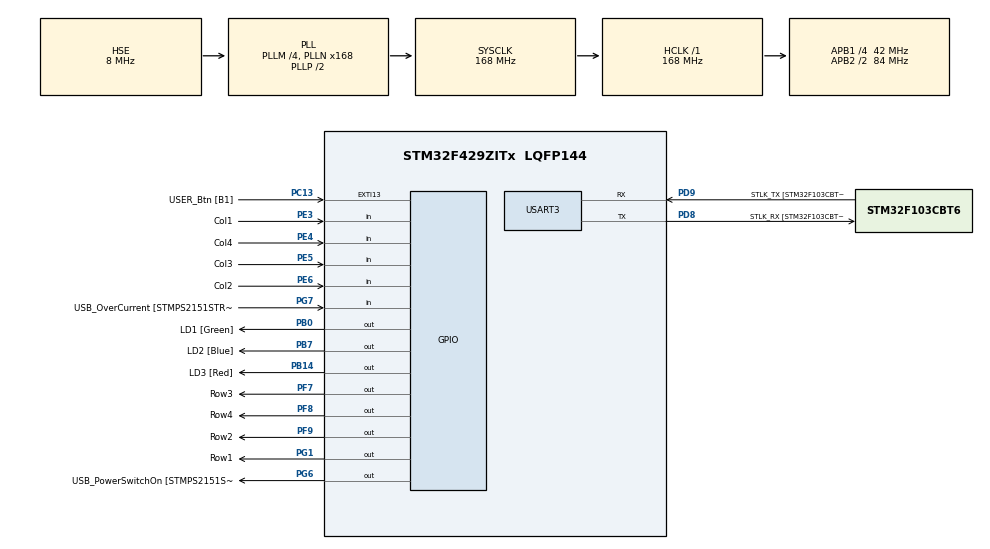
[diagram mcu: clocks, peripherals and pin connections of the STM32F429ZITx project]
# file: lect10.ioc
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Mcu.Family=STM32F4
Mcu.Name=STM32F429ZITx
Mcu.Package=LQFP144
NVIC.PriorityGroup=NVIC_PRIORITYGROUP_4
NVIC.TIM3_IRQn=true\:0\:0\:false\:false\:true\:true\:true\:true
PA1.GPIO_Label=RMII_REF_CLK [LAN8742A-CZ-TR_REFCLK0]
PA1.Signal=ETH_REF_CLK
PA10.GPIO_Label=USB_ID
PA10.Signal=USB_OTG_FS_ID
PA11.GPIO_Label=USB_DM
PA11.Signal=USB_OTG_FS_DM
PA12.GPIO_Label=USB_DP
PA12.Signal=USB_OTG_FS_DP
PA13.GPIO_Label=TMS
PA13.Mode=Serial_Wire
PA13.Signal=SYS_JTMS-SWDIO
PA14.GPIO_Label=TCK
PA14.Mode=Serial_Wire
PA14.Signal=SYS_JTCK-SWCLK
PA2.GPIO_Label=RMII_MDIO [LAN8742A-CZ-TR_MDIO]
PA2.Signal=ETH_MDIO
PA7.GPIO_Label=RMII_CRS_DV [LAN8742A-CZ-TR_CRS_DV]
PA7.Signal=ETH_CRS_DV
PA8.GPIO_Label=USB_SOF [TP1]
PA8.Signal=USB_OTG_FS_SOF
PA9.GPIO_Label=USB_VBUS
PA9.Signal=USB_OTG_FS_VBUS
PB0.GPIO_Label=LD1 [Green]
PB0.Signal=GPIO_Output
PB13.GPIO_Label=RMII_TXD1 [LAN8742A-CZ-TR_TXD1]
PB13.Signal=ETH_TXD1
PB14.GPIO_Label=LD3 [Red]
PB14.Signal=GPIO_Output
PB7.GPIO_Label=LD2 [Blue]
PB7.Signal=GPIO_Output
PC1.GPIO_Label=RMII_MDC [LAN8742A-CZ-TR_MDC]
PC1.Signal=ETH_MDC
PC13.GPIO_Label=USER_Btn [B1]
PC13.Signal=GPXTI13
PC14/OSC32_IN.Mode=LSE-External-Oscillator
PC14/OSC32_IN.Signal=RCC_OSC32_IN
PC15/OSC32_OUT.Mode=LSE-External-Oscillator
PC15/OSC32_OUT.Signal=RCC_OSC32_OUT
PC4.GPIO_Label=RMII_RXD0 [LAN8742A-CZ-TR_RXD0]
PC4.Signal=ETH_RXD0
PC5.GPIO_Label=RMII_RXD1 [LAN8742A-CZ-TR_RXD1]
PC5.Signal=ETH_RXD1
PD8.GPIO_Label=STLK_RX [STM32F103CBT6_PA3]
PD8.Mode=Asynchronous
PD8.Signal=USART3_TX
PD9.GPIO_Label=STLK_TX [STM32F103CBT6_PA2]
PD9.Mode=Asynchronous
PD9.Signal=USART3_RX
PE3.GPIO_Label=Col1
PE3.GPIO_PuPd=GPIO_PULLUP
PE3.Signal=GPIO_Input
PE4.GPIO_Label=Col4
PE4.GPIO_PuPd=GPIO_PULLUP
PE4.Signal=GPIO_Input
PE5.GPIO_Label=Col3
PE5.GPIO_PuPd=GPIO_PULLUP
PE5.Signal=GPIO_Input
PE6.GPIO_Label=Col2
PE6.GPIO_PuPd=GPIO_PULLUP
PE6.Signal=GPIO_Input
PF7.GPIO_Label=Row3
PF7.GPIO_ModeDefaultOutputPP=GPIO_MODE_OUTPUT_OD
PF7.GPIO_PuPd=GPIO_NOPULL
PF7.Signal=GPIO_Output
PF8.GPIO_Label=Row4
PF8.GPIO_ModeDefaultOutputPP=GPIO_MODE_OUTPUT_OD
PF8.GPIO_PuPd=GPIO_NOPULL
PF8.Signal=GPIO_Output
PF9.GPIO_Label=Row2
PF9.GPIO_ModeDefaultOutputPP=GPIO_MODE_OUTPUT_OD
PF9.GPIO_PuPd=GPIO_NOPULL
PF9.Signal=GPIO_Output
PG1.GPIO_Label=Row1
PG1.GPIO_ModeDefaultOutputPP=GPIO_MODE_OUTPUT_OD
PG1.GPIO_PuPd=GPIO_NOPULL
PG1.Signal=GPIO_Output
PG11.GPIO_Label=RMII_TX_EN [LAN8742A-CZ-TR_TXEN]
PG11.Signal=ETH_TX_EN
PG13.GPIO_Label=RMII_TXD0 [LAN8742A-CZ-TR_TXD0]
PG13.Signal=ETH_TXD0
PG6.GPIO_Label=USB_PowerSwitchOn [STMPS2151STR_EN]
PG6.Signal=GPIO_Output
PG7.GPIO_Label=USB_OverCurrent [STMPS2151STR_FAULT]
PG7.Signal=GPIO_Input
PH0/OSC_IN.GPIO_Label=MCO [STM32F103CBT6_PA8]
PH0/OSC_IN.Mode=HSE-External-Clock-Source
PH0/OSC_IN.Signal=RCC_OSC_IN
PH1/OSC_OUT.Mode=HSE-External-Clock-Source
PH1/OSC_OUT.Signal=RCC_OSC_OUT
ProjectManager.HeapSize=0x200
ProjectManager.StackSize=0x400
ProjectManager.TargetToolchain=STM32CubeIDE
RCC.48MHZClocksFreq_Value=48000000
RCC.AHBFreq_Value=168000000
RCC.APB1CLKDivider=RCC_HCLK_DIV4
RCC.APB1Freq_Value=42000000
RCC.APB1TimFreq_Value=84000000
RCC.APB2CLKDivider=RCC_HCLK_DIV2
RCC.APB2Freq_Value=84000000
RCC.APB2TimCLKDivider=2
RCC.APB2TimFreq_Value=168000000
RCC.CortexFreq_Value=168000000
RCC.HCLKFreq_Value=168000000
RCC.HSE_VALUE=8000000
RCC.HSI_VALUE=16000000
RCC.PLLM=4
RCC.PLLMUL=RCC_PLL_MUL9
RCC.PLLN=168
RCC.PLLQ=7
RCC.PLLSourceVirtual=RCC_PLLSOURCE_HSE
RCC.PRESCALERUSB=RCC_USBCLKSOURCE_PLL_DIV1_5
RCC.SYSCLKFreq_VALUE=168000000
RCC.SYSCLKSource=RCC_SYSCLKSOURCE_PLLCLK
RCC.SYSCLKSourceVirtual=RCC_SYSCLKSOURCE_PLLCLK
RCC.USBFreq_Value=48000000
RCC.VCOOutputFreq_Value=336000000
TIM3.AutoReloadPreload=TIM_AUTORELOAD_PRELOAD_ENABLE
TIM3.Period=99
TIM3.Prescaler=8399
USART3.VirtualMode=VM_ASYNC
VP_TIM3_VS_ClockSourceINT.Mode=Internal
board=NUCLEO-F429ZI

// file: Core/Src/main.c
/* USER CODE BEGIN Header */
/**
 ******************************************************************************
 * @file           : main.c
 * @brief          : Main program body
 ******************************************************************************
 * @attention
 *
 * Copyright (c) 2024 STMicroelectronics.
 * All rights reserved.
 *
 * This software is licensed under terms that can be found in the LICENSE file
 * in the root directory of this software component.
 * If no LICENSE file comes with this software, it is provided AS-IS.
 *
 ******************************************************************************
 */
/* USER CODE END Header */
#include "main.h"

/* USER CODE BEGIN Includes */
#include <stdio.h>
/* USER CODE END Includes */

/* USER CODE BEGIN PD */
#define DELAY 3000
/* USER CODE END PD */

TIM_HandleTypeDef htim3;

UART_HandleTypeDef huart3;

/* USER CODE BEGIN PV */
static volatile char key = 0;
static uint32_t TicTak = 0;
static const char password[] = {'1','2','3','4','#'};
uint8_t pw_i = 0;
uint8_t stisknuto = 0;

int __io_putchar (int ch){
	ITM_SendChar(ch);
	return 0;
}

void HAL_TIM_PeriodElapsedCallback(TIM_HandleTypeDef *htim){
	static uint8_t row = 0;
	static const char keyboard[4][4] = {
			{ '1', '2', '3', 'A' },
			{ '4', '5', '6', 'B' },
			{ '7', '8', '9', 'C' },
			{ '*', '0', '#', 'D' },
	};
	if (key == 0) {
		if (HAL_GPIO_ReadPin(Col1_GPIO_Port, Col1_Pin) == GPIO_PIN_RESET) key = keyboard[row][0];
		if (HAL_GPIO_ReadPin(Col2_GPIO_Port, Col2_Pin) == GPIO_PIN_RESET) key = keyboard[row][1];
		if (HAL_GPIO_ReadPin(Col3_GPIO_Port, Col3_Pin) == GPIO_PIN_RESET) key = keyboard[row][2];
		if (HAL_GPIO_ReadPin(Col4_GPIO_Port, Col4_Pin) == GPIO_PIN_RESET) key = keyboard[row][3];

	}
	HAL_GPIO_WritePin(Row1_GPIO_Port, Row1_Pin, GPIO_PIN_SET);
	HAL_GPIO_WritePin(Row2_GPIO_Port, Row2_Pin, GPIO_PIN_SET);
	HAL_GPIO_WritePin(Row3_GPIO_Port, Row3_Pin, GPIO_PIN_SET);
	HAL_GPIO_WritePin(Row4_GPIO_Port, Row4_Pin, GPIO_PIN_SET);
	switch (row) {
	case 0: row = 1; HAL_GPIO_WritePin(Row2_GPIO_Port, Row2_Pin, GPIO_PIN_RESET); break;
	case 1: row = 2; HAL_GPIO_WritePin(Row3_GPIO_Port, Row3_Pin, GPIO_PIN_RESET); break;
	case 2: row = 3; HAL_GPIO_WritePin(Row4_GPIO_Port, Row4_Pin, GPIO_PIN_RESET); break;
	case 3: row = 0; HAL_GPIO_WritePin(Row1_GPIO_Port, Row1_Pin, GPIO_PIN_RESET); break;

	}
}
/* USER CODE END PV */

void SystemClock_Config(void);
static void MX_GPIO_Init(void);
static void MX_USART3_UART_Init(void);
static void MX_TIM3_Init(void);

int main(void)
{

	/* MCU Configuration--------------------------------------------------------*/

	/* Reset of all peripherals, Initializes the Flash interface and the Systick. */
	HAL_Init();

	/* Configure the system clock */
	SystemClock_Config();

	/* Initialize all configured peripherals */
	MX_GPIO_Init();
	MX_USART3_UART_Init();
	MX_TIM3_Init();
	/* USER CODE BEGIN 2 */
	HAL_TIM_Base_Start_IT(&htim3);
	/* USER CODE END 2 */

	/* Infinite loop */
	/* USER CODE BEGIN WHILE */
	while (1)
	{
		//printf("Tick\n");
		//HAL_GPIO_TogglePin(LD2_GPIO_Port, LD2_Pin);
		//HAL_GPIO_TogglePin(LD3_GPIO_Port, LD3_Pin);

		if (key != 0) {
			stisknuto = 1;
			TicTak = HAL_GetTick();
			printf("stisknuto '%c'\n", key);
			HAL_Delay(500);

			if(key == password[pw_i]){
				pw_i++;
				printf("Ok --> '%d' z 5\n", pw_i);
				//printf("OK\n");

				if(pw_i== 5){
					printf("Unlocked\n");
					HAL_GPIO_WritePin(LD2_GPIO_Port, LD2_Pin,1);
					HAL_Delay(5000);
					HAL_GPIO_WritePin(LD2_GPIO_Port, LD2_Pin,0);
				}

			}else{
				printf("Error - Try again\n");
				pw_i = 0;
			}
			key = 0;
		}
		if((HAL_GetTick() > TicTak + DELAY)&&stisknuto == 1){
			printf("Timeout - Try again\n");
			pw_i = 0;
			key = 0;
			stisknuto = 0;
		}

		/* USER CODE END WHILE */

	}
}

void SystemClock_Config(void)
{
	RCC_OscInitTypeDef RCC_OscInitStruct = {0};
	RCC_ClkInitTypeDef RCC_ClkInitStruct = {0};

	/** Configure the main internal regulator output voltage
	 */
	__HAL_RCC_PWR_CLK_ENABLE();
	__HAL_PWR_VOLTAGESCALING_CONFIG(PWR_REGULATOR_VOLTAGE_SCALE1);

	/** Initializes the RCC Oscillators according to the specified parameters
	 * in the RCC_OscInitTypeDef structure.
	 */
	RCC_OscInitStruct.OscillatorType = RCC_OSCILLATORTYPE_HSE;
	RCC_OscInitStruct.HSEState = RCC_HSE_BYPASS;
	RCC_OscInitStruct.PLL.PLLState = RCC_PLL_ON;
	RCC_OscInitStruct.PLL.PLLSource = RCC_PLLSOURCE_HSE;
	RCC_OscInitStruct.PLL.PLLM = 4;
	RCC_OscInitStruct.PLL.PLLN = 168;
	RCC_OscInitStruct.PLL.PLLP = RCC_PLLP_DIV2;
	RCC_OscInitStruct.PLL.PLLQ = 7;
	if (HAL_RCC_OscConfig(&RCC_OscInitStruct) != HAL_OK)
	{
		Error_Handler();
	}

	/** Initializes the CPU, AHB and APB buses clocks
	 */
	RCC_ClkInitStruct.ClockType = RCC_CLOCKTYPE_HCLK|RCC_CLOCKTYPE_SYSCLK
			|RCC_CLOCKTYPE_PCLK1|RCC_CLOCKTYPE_PCLK2;
	RCC_ClkInitStruct.SYSCLKSource = RCC_SYSCLKSOURCE_PLLCLK;
	RCC_ClkInitStruct.AHBCLKDivider = RCC_SYSCLK_DIV1;
	RCC_ClkInitStruct.APB1CLKDivider = RCC_HCLK_DIV4;
	RCC_ClkInitStruct.APB2CLKDivider = RCC_HCLK_DIV2;

	if (HAL_RCC_ClockConfig(&RCC_ClkInitStruct, FLASH_LATENCY_5) != HAL_OK)
	{
		Error_Handler();
	}
}

static void MX_TIM3_Init(void)
{

	TIM_ClockConfigTypeDef sClockSourceConfig = {0};
	TIM_MasterConfigTypeDef sMasterConfig = {0};

	htim3.Instance = TIM3;
	htim3.Init.Prescaler = 8399;
	htim3.Init.CounterMode = TIM_COUNTERMODE_UP;
	htim3.Init.Period = 99;
	htim3.Init.ClockDivision = TIM_CLOCKDIVISION_DIV1;
	htim3.Init.AutoReloadPreload = TIM_AUTORELOAD_PRELOAD_ENABLE;
	if (HAL_TIM_Base_Init(&htim3) != HAL_OK)
	{
		Error_Handler();
	}
	sClockSourceConfig.ClockSource = TIM_CLOCKSOURCE_INTERNAL;
	if (HAL_TIM_ConfigClockSource(&htim3, &sClockSourceConfig) != HAL_OK)
	{
		Error_Handler();
	}
	sMasterConfig.MasterOutputTrigger = TIM_TRGO_RESET;
	sMasterConfig.MasterSlaveMode = TIM_MASTERSLAVEMODE_DISABLE;
	if (HAL_TIMEx_MasterConfigSynchronization(&htim3, &sMasterConfig) != HAL_OK)
	{
		Error_Handler();
	}

}

static void MX_USART3_UART_Init(void)
{

	huart3.Instance = USART3;
	huart3.Init.BaudRate = 115200;
	huart3.Init.WordLength = UART_WORDLENGTH_8B;
	huart3.Init.StopBits = UART_STOPBITS_1;
	huart3.Init.Parity = UART_PARITY_NONE;
	huart3.Init.Mode = UART_MODE_TX_RX;
	huart3.Init.HwFlowCtl = UART_HWCONTROL_NONE;
	huart3.Init.OverSampling = UART_OVERSAMPLING_16;
	if (HAL_UART_Init(&huart3) != HAL_OK)
	{
		Error_Handler();
	}

}

static void MX_GPIO_Init(void)
{
	GPIO_InitTypeDef GPIO_InitStruct = {0};

	/* GPIO Ports Clock Enable */
	__HAL_RCC_GPIOE_CLK_ENABLE();
	__HAL_RCC_GPIOC_CLK_ENABLE();
	__HAL_RCC_GPIOF_CLK_ENABLE();
	__HAL_RCC_GPIOH_CLK_ENABLE();
	__HAL_RCC_GPIOA_CLK_ENABLE();
	__HAL_RCC_GPIOB_CLK_ENABLE();
	__HAL_RCC_GPIOG_CLK_ENABLE();
	__HAL_RCC_GPIOD_CLK_ENABLE();

	/*Configure GPIO pin Output Level */
	HAL_GPIO_WritePin(GPIOF, Row3_Pin|Row4_Pin|Row2_Pin, GPIO_PIN_RESET);

	/*Configure GPIO pin Output Level */
	HAL_GPIO_WritePin(GPIOB, LD1_Pin|LD3_Pin|LD2_Pin, GPIO_PIN_RESET);

	/*Configure GPIO pin Output Level */
	HAL_GPIO_WritePin(GPIOG, Row1_Pin|USB_PowerSwitchOn_Pin, GPIO_PIN_RESET);

	/*Configure GPIO pins : Col1_Pin Col4_Pin Col3_Pin Col2_Pin */
	GPIO_InitStruct.Pin = Col1_Pin|Col4_Pin|Col3_Pin|Col2_Pin;
	GPIO_InitStruct.Mode = GPIO_MODE_INPUT;
	GPIO_InitStruct.Pull = GPIO_PULLUP;
	HAL_GPIO_Init(GPIOE, &GPIO_InitStruct);

	/*Configure GPIO pin : USER_Btn_Pin */
	GPIO_InitStruct.Pin = USER_Btn_Pin;
	GPIO_InitStruct.Mode = GPIO_MODE_IT_RISING;
	GPIO_InitStruct.Pull = GPIO_NOPULL;
	HAL_GPIO_Init(USER_Btn_GPIO_Port, &GPIO_InitStruct);

	/*Configure GPIO pins : Row3_Pin Row4_Pin Row2_Pin */
	GPIO_InitStruct.Pin = Row3_Pin|Row4_Pin|Row2_Pin;
	GPIO_InitStruct.Mode = GPIO_MODE_OUTPUT_OD;
	GPIO_InitStruct.Pull = GPIO_NOPULL;
	GPIO_InitStruct.Speed = GPIO_SPEED_FREQ_LOW;
	HAL_GPIO_Init(GPIOF, &GPIO_InitStruct);

	/*Configure GPIO pins : RMII_MDC_Pin RMII_RXD0_Pin RMII_RXD1_Pin */
	GPIO_InitStruct.Pin = RMII_MDC_Pin|RMII_RXD0_Pin|RMII_RXD1_Pin;
	GPIO_InitStruct.Mode = GPIO_MODE_AF_PP;
	GPIO_InitStruct.Pull = GPIO_NOPULL;
	GPIO_InitStruct.Speed = GPIO_SPEED_FREQ_VERY_HIGH;
	GPIO_InitStruct.Alternate = GPIO_AF11_ETH;
	HAL_GPIO_Init(GPIOC, &GPIO_InitStruct);

	/*Configure GPIO pins : RMII_REF_CLK_Pin RMII_MDIO_Pin RMII_CRS_DV_Pin */
	GPIO_InitStruct.Pin = RMII_REF_CLK_Pin|RMII_MDIO_Pin|RMII_CRS_DV_Pin;
	GPIO_InitStruct.Mode = GPIO_MODE_AF_PP;
	GPIO_InitStruct.Pull = GPIO_NOPULL;
	GPIO_InitStruct.Speed = GPIO_SPEED_FREQ_VERY_HIGH;
	GPIO_InitStruct.Alternate = GPIO_AF11_ETH;
	HAL_GPIO_Init(GPIOA, &GPIO_InitStruct);

	/*Configure GPIO pins : LD1_Pin LD3_Pin LD2_Pin */
	GPIO_InitStruct.Pin = LD1_Pin|LD3_Pin|LD2_Pin;
	GPIO_InitStruct.Mode = GPIO_MODE_OUTPUT_PP;
	GPIO_InitStruct.Pull = GPIO_NOPULL;
	GPIO_InitStruct.Speed = GPIO_SPEED_FREQ_LOW;
	HAL_GPIO_Init(GPIOB, &GPIO_InitStruct);

	/*Configure GPIO pin : Row1_Pin */
	GPIO_InitStruct.Pin = Row1_Pin;
	GPIO_InitStruct.Mode = GPIO_MODE_OUTPUT_OD;
	GPIO_InitStruct.Pull = GPIO_NOPULL;
	GPIO_InitStruct.Speed = GPIO_SPEED_FREQ_LOW;
	HAL_GPIO_Init(Row1_GPIO_Port, &GPIO_InitStruct);

	/*Configure GPIO pin : RMII_TXD1_Pin */
	GPIO_InitStruct.Pin = RMII_TXD1_Pin;
	GPIO_InitStruct.Mode = GPIO_MODE_AF_PP;
	GPIO_InitStruct.Pull = GPIO_NOPULL;
	GPIO_InitStruct.Speed = GPIO_SPEED_FREQ_VERY_HIGH;
	GPIO_InitStruct.Alternate = GPIO_AF11_ETH;
	HAL_GPIO_Init(RMII_TXD1_GPIO_Port, &GPIO_InitStruct);

	/*Configure GPIO pin : USB_PowerSwitchOn_Pin */
	GPIO_InitStruct.Pin = USB_PowerSwitchOn_Pin;
	GPIO_InitStruct.Mode = GPIO_MODE_OUTPUT_PP;
	GPIO_InitStruct.Pull = GPIO_NOPULL;
	GPIO_InitStruct.Speed = GPIO_SPEED_FREQ_LOW;
	HAL_GPIO_Init(USB_PowerSwitchOn_GPIO_Port, &GPIO_InitStruct);

	/*Configure GPIO pin : USB_OverCurrent_Pin */
	GPIO_InitStruct.Pin = USB_OverCurrent_Pin;
	GPIO_InitStruct.Mode = GPIO_MODE_INPUT;
	GPIO_InitStruct.Pull = GPIO_NOPULL;
	HAL_GPIO_Init(USB_OverCurrent_GPIO_Port, &GPIO_InitStruct);

	/*Configure GPIO pins : USB_SOF_Pin USB_ID_Pin USB_DM_Pin USB_DP_Pin */
	GPIO_InitStruct.Pin = USB_SOF_Pin|USB_ID_Pin|USB_DM_Pin|USB_DP_Pin;
	GPIO_InitStruct.Mode = GPIO_MODE_AF_PP;
	GPIO_InitStruct.Pull = GPIO_NOPULL;
	GPIO_InitStruct.Speed = GPIO_SPEED_FREQ_VERY_HIGH;
	GPIO_InitStruct.Alternate = GPIO_AF10_OTG_FS;
	HAL_GPIO_Init(GPIOA, &GPIO_InitStruct);

	/*Configure GPIO pin : USB_VBUS_Pin */
	GPIO_InitStruct.Pin = USB_VBUS_Pin;
	GPIO_InitStruct.Mode = GPIO_MODE_INPUT;
	GPIO_InitStruct.Pull = GPIO_NOPULL;
	HAL_GPIO_Init(USB_VBUS_GPIO_Port, &GPIO_InitStruct);

	/*Configure GPIO pins : RMII_TX_EN_Pin RMII_TXD0_Pin */
	GPIO_InitStruct.Pin = RMII_TX_EN_Pin|RMII_TXD0_Pin;
	GPIO_InitStruct.Mode = GPIO_MODE_AF_PP;
	GPIO_InitStruct.Pull = GPIO_NOPULL;
	GPIO_InitStruct.Speed = GPIO_SPEED_FREQ_VERY_HIGH;
	GPIO_InitStruct.Alternate = GPIO_AF11_ETH;
	HAL_GPIO_Init(GPIOG, &GPIO_InitStruct);

}

void Error_Handler(void)
{
	__disable_irq();
	while (1)
	{
	}
}
